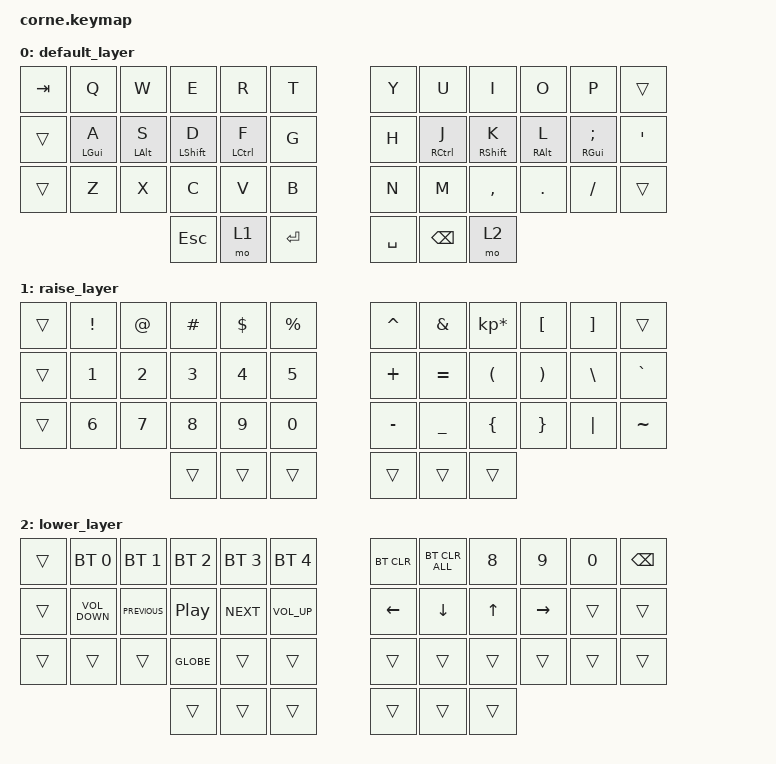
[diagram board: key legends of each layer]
/*
 * Copyright (c) 2020 The ZMK Contributors
 *
 * SPDX-License-Identifier: MIT
 */

#include <behaviors.dtsi>
#include <dt-bindings/zmk/bt.h>
#include <dt-bindings/zmk/keys.h>

/ {
    combos {
        compatible = "zmk,combos";

        caps_lock {
            bindings = <&kp CAPSLOCK>;
            key-positions = <13 22>;
        };

        equal_plus {
            bindings = <&kp EQUAL>;
            key-positions = <16 19>;
        };

        minus {
            bindings = <&kp MINUS>;
            key-positions = <4 7>;
        };

        underscore {
            bindings = <&kp UNDER>;
            key-positions = <28 31>;
        };

        plus {
            bindings = <&kp PLUS>;
            key-positions = <17 18>;
        };
    };

    behaviors {
        hmr: hmr {
            compatible = "zmk,behavior-hold-tap";
            label = "HMR";
            bindings = <&kp>, <&kp>;

            #binding-cells = <2>;
            tapping-term-ms = <220>;
            quick-tap-ms = <150>;
            flavor = "balanced";
            hold-trigger-on-release;
            hold-trigger-key-positions = <0 1 2 3 4 5 12 13 14 15 16 17 24 25 26 27 28 29 36 37 38 39 40 41>;
        };

        hml: hml {
            compatible = "zmk,behavior-hold-tap";
            label = "HML";
            bindings = <&kp>, <&kp>;

            #binding-cells = <2>;
            tapping-term-ms = <220>;
            flavor = "balanced";
            hold-trigger-key-positions = <6 7 8 9 10 11 18 19 20 21 22 23 30 31 32 33 34 35 39 40 41 36 37 38>;
            hold-trigger-on-release;
            quick-tap-ms = <150>;
        };
    };

    keymap {
        compatible = "zmk,keymap";

        default_layer {
            // -----------------------------------------------------------------------------------------
            // |  TAB |  Q  |  W  |  E  |  R  |  T  |   |  Y  |  U   |  I  |  O  |  P  | BKSP |
            // | CTRL |  A  |  S  |  D  |  F  |  G  |   |  H  |  J   |  K  |  L  |  ;  |  '   |
            // | SHFT |  Z  |  X  |  C  |  V  |  B  |   |  N  |  M   |  ,  |  .  |  /  | ESC  |
            //                    | GUI | LWR | SPC |   | ENT | RSE  | ALT |

            bindings = <
&kp TAB  &kp Q            &kp W            &kp E              &kp R                &kp T        &kp Y      &kp U                 &kp I               &kp O             &kp P                     &trans
&trans   &hml LEFT_GUI A  &hml LEFT_ALT S  &hml LEFT_SHIFT D  &hml LEFT_CONTROL F  &kp G        &kp H      &hmr RIGHT_CONTROL J  &hmr RIGHT_SHIFT K  &hmr RIGHT_ALT L  &hmr RIGHT_GUI SEMICOLON  &kp SQT
&trans   &kp Z            &kp X            &kp C              &kp V                &kp B        &kp N      &kp M                 &kp COMMA           &kp DOT           &kp FSLH                  &trans
                                           &kp ESCAPE         &mo 1                &kp ENTER    &kp SPACE  &kp BACKSPACE         &mo 2
            >;
        };

        raise_layer {
            // -----------------------------------------------------------------------------------------
            // |  TAB |  !  |  @  |  #  |  $  |  %  |   |  ^  |  &  |  *  |  (  |  )  | BKSP |
            // | CTRL |     |     |     |     |     |   |  -  |  =  |  [  |  ]  |  \  |  `   |
            // | SHFT |     |     |     |     |     |   |  _  |  +  |  {  |  }  | "|" |  ~   |
            //                    | GUI |     | SPC |   | ENT |     | ALT |

            bindings = <
&trans  &kp EXCL      &kp AT        &kp HASH      &kp DLLR      &kp PRCNT    &kp CARET  &kp AMPS        &kp KP_MULTIPLY       &kp LEFT_BRACKET       &kp RIGHT_BRACKET  &trans
&trans  &kp NUMBER_1  &kp NUMBER_2  &kp NUMBER_3  &kp NUMBER_4  &kp N5       &kp PLUS   &kp EQUAL       &kp LEFT_PARENTHESIS  &kp RIGHT_PARENTHESIS  &kp BSLH           &kp GRAVE
&trans  &kp NUMBER_6  &kp N7        &kp N8        &kp N9        &kp N0       &kp MINUS  &kp UNDERSCORE  &kp LEFT_BRACE        &kp RBRC               &kp PIPE           &kp TILDE
                                    &trans        &trans        &trans       &trans     &trans          &trans
            >;
        };

        lower_layer {
            // -----------------------------------------------------------------------------------------
            // |  TAB |  1  |  2  |  3  |  4  |  5  |   |  6  |  7  |  8  |  9  |  0  | BKSP |
            // | BTCLR| BT1 | BT2 | BT3 | BT4 | BT5 |   | LFT | DWN |  UP | RGT |     |      |
            // | SHFT |     |     |     |     |     |   |     |     |     |     |     |      |
            //                    | GUI |     | SPC |   | ENT |     | ALT |

            bindings = <
&trans  &bt BT_SEL 0       &bt BT_SEL 1    &bt BT_SEL 2      &bt BT_SEL 3  &bt BT_SEL 4       &bt BT_CLR  &bt BT_CLR_ALL  &kp N8  &kp N9     &kp N0  &kp BSPC
&trans  &kp C_VOLUME_DOWN  &kp C_PREVIOUS  &kp C_PLAY_PAUSE  &kp C_NEXT    &kp C_VOLUME_UP    &kp LEFT    &kp DOWN        &kp UP  &kp RIGHT  &trans  &trans
&trans  &trans             &trans          &kp GLOBE         &trans        &trans             &trans      &trans          &trans  &trans     &trans  &trans
                                           &trans            &trans        &trans             &trans      &trans          &trans
            >;
        };
    };
};
